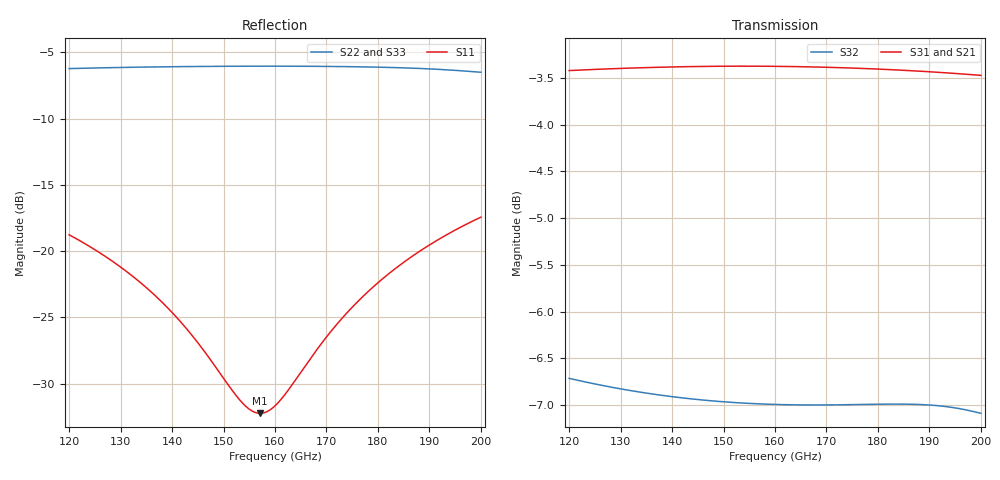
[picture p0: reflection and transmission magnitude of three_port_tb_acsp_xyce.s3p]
[Version] 2.0
# Hz S RI R 50
[Number of Ports] 3
[Reference] 50 50 50
!  Freq  ReS11  ImS11  ReS12  ImS12  ReS13  ImS13  ReS21  ImS21  ReS22  ImS22  ReS23  ImS23  ReS31  ImS31  ReS32  ImS32  ReS33  ImS33
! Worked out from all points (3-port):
!   1001 points, 120 GHz to 200 GHz, reference 50 ohm
!   strongest paths, dB at 120 GHz, 140 GHz, 160 GHz, 180 GHz, 200 GHz:
!     S31: -3.4, -3.4, -3.4, -3.4, -3.5
!     S21: -3.4, -3.4, -3.4, -3.4, -3.5
!     S32: -6.7, -6.9, -7.0, -7.0, -7.1
!   lowest |S11| = -32.2 dB at 157.1 GHz (marker M1), VSWR 1.05, Z = 52.5 - j0.0121 ohm
!   |S11| at or under -10 dB: start of sweep to end of sweep
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[Number of Frequencies] 10
[Network Data]
1.2e11  -0.02 0.1136  0.2565 -0.6234  0.2566 -0.6236
        0.2565 -0.6234  0.4633 0.1554  -0.358 -0.2915
        0.2566 -0.6236  -0.358 -0.2915  0.4629 0.1551
1.3672e11  0.0106 0.0671  0.146 -0.6608  0.146 -0.661
           0.146 -0.6608  0.491 0.0687  -0.4191 -0.1709
           0.146 -0.661  -0.4191 -0.1709  0.4906 0.0685
1.4376e11  0.0185 0.0448  0.0973 -0.6703  0.0973 -0.6706
           0.0973 -0.6703  0.4965 0.0323  -0.4347 -0.1169
           0.0973 -0.6706  -0.4347 -0.1169  0.496 0.032
1.5336e11  0.024 0.0127  0.0298 -0.6771  0.0297 -0.6773
           0.0298 -0.6771  0.4986 -0.0172  -0.4459 -0.0417
           0.0297 -0.6773  -0.4459 -0.0417  0.4981 -0.0175
1.5712e11  0.0244 -0.000115  0.00317 -0.6777  0.0031 -0.6779
           0.00317 -0.6777  0.4977 -0.0365  -0.4472 -0.0119
           0.0031 -0.6779  -0.4472 -0.0119  0.4972 -0.0367
1.6e11  0.0241 -0.00995  -0.0172 -0.6774  -0.0173 -0.6776
        -0.0172 -0.6774  0.4964 -0.0512  -0.4469 0.011
        -0.0173 -0.6776  -0.4469 0.011  0.4959 -0.0515
1.7112e11  0.0174 -0.0474  -0.0956 -0.6699  -0.0957 -0.6701
           -0.0956 -0.6699  0.486 -0.1076  -0.4357 0.0989
           -0.0957 -0.6701  -0.4357 0.0989  0.4855 -0.1078
1.7848e11  0.00839 -0.0711  -0.1466 -0.6596  -0.1467 -0.6597
           -0.1466 -0.6596  0.474 -0.1443  -0.419 0.1559
           -0.1467 -0.6597  -0.419 0.1559  0.4734 -0.1445
1.8848e11  -0.0094 -0.1006  -0.2138 -0.6387  -0.214 -0.6388
           -0.2138 -0.6387  0.4497 -0.192  -0.3835 0.2296
           -0.214 -0.6388  -0.3835 0.2296  0.4491 -0.1922
2e11  -0.0369 -0.1292  -0.2873 -0.6056  -0.2874 -0.6056
      -0.2873 -0.6056  0.4099 -0.2366  -0.3242 0.3007
      -0.2874 -0.6056  -0.3242 0.3007  0.4092 -0.2367
[End]
